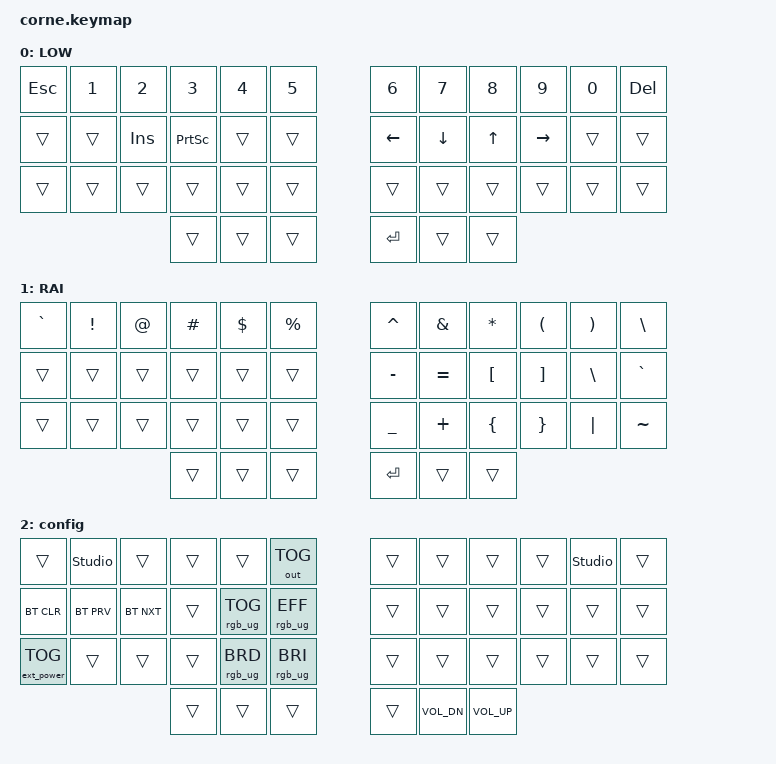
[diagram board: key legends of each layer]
/*
 * Copyright (c) 2020 The ZMK Contributors
 *
 * SPDX-License-Identifier: MIT
 */

#include <behaviors.dtsi>
#include <dt-bindings/zmk/keys.h>
#include <dt-bindings/zmk/bt.h>
#include <dt-bindings/zmk/outputs.h>
#include <dt-bindings/zmk/ext_power.h>
#include <dt-bindings/led/led.h>
#include <dt-bindings/zmk/backlight.h>
#include <dt-bindings/zmk/rgb.h>
#include <dt-bindings/zmk/reset.h>

&led_strip {
    chain-length = <27>;
};

/ {
    keymap {
        compatible = "zmk,keymap";

        default_layer {
            display-name= "Base"
            // -----------------------------------------------------------------------------------------
            // |  TAB |  Q  |  W  |  E  |  R  |  T  |   |  Y  |  U   |  I  |  O  |  P  | BSPC |
            // | CTRL |  A  |  S  |  D  |  F  |  G  |   |  H  |  J   |  K  |  L  |  ;  |  '   |
            // | SHFT |  Z  |  X  |  C  |  V  |  B  |   |  N  |  M   |  ,  |  .  |  /  | ESC  |
            //                    | GUI | LWR | SPC |   | ENT | RSE  | ALT |

            bindings = <
                &kp TAB           &kp Q  &kp W  &kp E         &kp R        &kp T          &kp Y        &kp U        &kp I         &kp O    &kp P     &kp BSPC
                &mt LEFT_SHIFT A  &kp A  &kp S  &kp D         &kp F        &kp G          &kp H        &kp J        &kp K         &kp L    &kp SEMI  &mt RSHIFT SQT
                &kp LCTRL         &kp Z  &kp X  &kp C         &kp V        &kp B          &kp N        &kp M        &kp COMMA     &kp DOT  &kp FSLH  &lt 3 GRAVE
                                                &kp LEFT_ALT  &lt 1 SPACE  &lt 2 EQUAL    &lt 2 ENTER  &lt 1 SPACE  &kp LEFT_WIN
            >;
        };

        lower_layer {
            display-name = "LOW";
            // -----------------------------------------------------------------------------------------
            // |  TAB |  1  |  2  |  3  |  4  |  5  |   |  6  |  7  |  8  |  9  |  0  | BSPC |
            // | BTCLR| BT1 | BT2 | BT3 | BT4 | BT5 |   | LFT | DWN |  UP | RGT |     |      |
            // | SHFT | &ext_power EP_TOG    |     |     |     |     |   |     |     |     |     |     |      |
            //                    | GUI |     | SPC |   | ENT |     | ALT |

            bindings = <
                &kp ESC  &kp N1  &kp N2   &kp N3           &kp N4  &kp N5    &kp N6    &kp N7    &kp N8  &kp N9     &kp N0  &kp DEL
                &trans   &trans  &kp INS  &kp PRINTSCREEN  &trans  &trans    &kp LEFT  &kp DOWN  &kp UP  &kp RIGHT  &trans  &trans
                &trans   &trans  &trans   &trans           &trans  &trans    &trans    &trans    &trans  &trans     &trans  &trans
                                        &trans           &trans  &trans    &kp RET   &trans    &trans
            >;
        };

        raise_layer {
            display-name = "RAI";
            // -----------------------------------------------------------------------------------------
            // |  TAB |  !  |  @  |  #  |  $  |  %  |   |  ^  |  &  |  *  |  (  |  )  | BSPC |
            // | CTRL |     |     |     |     |     |   |  -  |  =  |  [  |  ]  |  \  |  `   |
            // | SHFT |     |     |     |     |     |   |  _  |  +  |  {  |  }  | "|" |  ~   |
            //                    | GUI |     | SPC |   | ENT |     | ALT |

            bindings = <
                &kp GRAVE  &kp EXCL  &kp AT  &kp HASH  &kp DLLR  &kp PRCNT    &kp CARET  &kp AMPS   &kp ASTRK  &kp LPAR  &kp RPAR  &kp BACKSLASH
                &trans     &trans    &trans  &trans    &trans    &trans       &kp MINUS  &kp EQUAL  &kp LBKT   &kp RBKT  &kp BSLH  &kp GRAVE
                &trans     &trans    &trans  &trans    &trans    &trans       &kp UNDER  &kp PLUS   &kp LBRC   &kp RBRC  &kp PIPE  &kp TILDE
                                            &trans    &trans    &trans       &kp RET    &trans     &trans
            >;
        };

        config {
            bindings = <
                &trans             &studio_unlock  &trans      &trans  &trans           &out OUT_TOG       &trans  &trans        &trans           &trans  &studio_unlock  &trans
                &bt BT_CLR         &bt BT_PRV      &bt BT_NXT  &trans  &rgb_ug RGB_TOG  &rgb_ug RGB_EFF    &trans  &trans        &trans           &trans  &trans          &trans
                &ext_power EP_TOG  &trans          &trans      &trans  &rgb_ug RGB_BRD  &rgb_ug RGB_BRI    &trans  &trans        &trans           &trans  &trans          &trans
                                               &trans  &trans           &trans             &trans  &kp C_VOL_DN  &kp C_VOLUME_UP
            >;
        };   
    };
};
